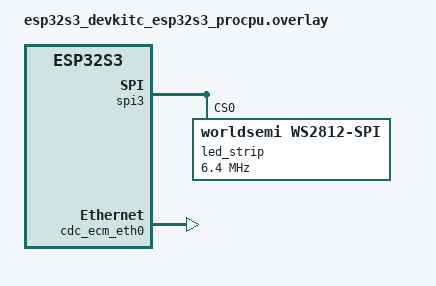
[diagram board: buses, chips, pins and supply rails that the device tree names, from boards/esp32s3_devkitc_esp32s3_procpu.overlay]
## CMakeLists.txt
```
# Copyright 2026 loco-pico contributors
# SPDX-License-Identifier: Apache-2.0

cmake_minimum_required(VERSION 3.20.0)

find_package(Zephyr REQUIRED HINTS $ENV{ZEPHYR_BASE})
project(loco_pico)

# ---------------------------------------------------------------------------
# Vendored third-party sources: Pico-ROS, Micro-CDR and the zenoh-pico 1.6.2
# compatibility shim.
# ---------------------------------------------------------------------------
set(PICOROS_DIR ${CMAKE_CURRENT_SOURCE_DIR}/thirdparty/Pico-ROS)
set(MICROCDR_DIR ${CMAKE_CURRENT_SOURCE_DIR}/thirdparty/Micro-CDR)
set(COMPAT_DIR ${CMAKE_CURRENT_SOURCE_DIR}/thirdparty/compat)

target_sources(app PRIVATE
  src/main.c
  src/led_status.c
  usb/usbd_net.c

  ${PICOROS_DIR}/src/picoros.c
  ${PICOROS_DIR}/src/picoserdes.c

  ${MICROCDR_DIR}/src/c/common.c
  ${MICROCDR_DIR}/src/c/types/array.c
  ${MICROCDR_DIR}/src/c/types/basic.c
  ${MICROCDR_DIR}/src/c/types/sequence.c
  ${MICROCDR_DIR}/src/c/types/string.c

  ${COMPAT_DIR}/picoros_compat.c
  ${COMPAT_DIR}/zephyr_atomics.c
)

target_include_directories(app PRIVATE
  usb
  ${COMPAT_DIR}
  ${PICOROS_DIR}/src
  ${PICOROS_DIR}/examples
  ${MICROCDR_DIR}/include
  ${PICOROS_DIR}/thirdparty/config
)

# Pico-ROS ships the common ROS 2 message and service types generated from the
# ROS IDL definitions (rcl_interfaces, common_interfaces, example_interfaces and
# unique_identifier_msgs) as examples/example_types.h. Compile that table in so
# the app can publish or subscribe any of those types.
target_compile_definitions(app PRIVATE
  USER_TYPE_FILE="example_types.h"
)

# Force the compatibility declarations into Pico-ROS sources so its calls to
# zp_read_task_is_running()/zp_lease_task_is_running() resolve against the
# shim without patching the submodule.
set_source_files_properties(
  ${PICOROS_DIR}/src/picoros.c
  PROPERTIES COMPILE_OPTIONS "-include;${COMPAT_DIR}/picoros_compat.h"
)

# ---------------------------------------------------------------------------
# Pico-ROS is built against a newer zenoh-pico, but the workspace ships 1.6.2.
# Enable the unstable liveliness API it needs and match the rmw_zenohd lease
# timing so the router keeps the session alive.
# ---------------------------------------------------------------------------
zephyr_compile_definitions(
  Z_FEATURE_UNSTABLE_API=1
  Z_TRANSPORT_LEASE=60000
  Z_TRANSPORT_LEASE_EXPIRE_FACTOR=2
)
```

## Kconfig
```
# Copyright 2026 loco-pico contributors
# SPDX-License-Identifier: Apache-2.0
#
# This file is the application Kconfig root, so it must source Zephyr's
# top-level Kconfig at the end.

config LOCO_PICO_USB_VID
	hex "USB device Vendor ID (VID)"
	default 0x303a if SOC_FAMILY_ESPRESSIF_ESP32
	default 0x2fe3
	help
	  USB device Vendor ID. Defaults to Espressif (0x303a) on ESP32 targets
	  and to the Zephyr project VID (0x2fe3) elsewhere.

config LOCO_PICO_USB_PID
	hex "USB device Product ID (PID)"
	default 0x0001
	help
	  USB device Product ID.

config LOCO_PICO_USB_MANUFACTURER
	string "USB manufacturer string"
	default "loco-pico"

config LOCO_PICO_USB_PRODUCT
	string "USB product string"
	default "loco-pico CDC-ECM"

config LOCO_PICO_USB_MAX_POWER
	int "USB bus power consumption (2 mA units)"
	default 125
	help
	  Maximum bus current in 2 mA units (125 = 250 mA).

config LOCO_PICO_USB_SELF_POWERED
	bool "USB device is self-powered"
	default n

config LOCO_PICO_USB_REMOTE_WAKEUP
	bool "USB device supports remote wakeup"
	default n

choice LOCO_PICO_LED_BACKEND
	prompt "Onboard status LED backend"
	default LOCO_PICO_LED_STRIP if SOC_SERIES_ESP32S3
	default LOCO_PICO_LED_GPIO
	help
	  How the onboard LED that reports the blink state is driven.

config LOCO_PICO_LED_GPIO
	bool "Plain GPIO pin (devicetree alias led0)"
	help
	  Drive the LED through the GPIO API. The board devicetree must provide a
	  led0 alias whose gpios property points at the LED.

config LOCO_PICO_LED_STRIP
	bool "Addressable LED strip (devicetree alias led-strip)"
	select LED_STRIP
	help
	  Drive the LED through the LED strip API, for boards whose status LED is
	  an addressable RGB part such as a WS2812. The board devicetree must
	  provide a led-strip alias.

endchoice

source "Kconfig.zephyr"
```

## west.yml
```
# West manifest for loco-pico.
#
# This repository is its own manifest repository (a "forest", or T2, workspace):
# the application and the manifest live here, while Zephyr and its modules are
# separate projects pulled in by "west update".
#
# Typical use from a fresh directory:
#
#   git clone --recurse-submodules https://github.com/<you>/loco-pico.git app
#   west init -l app
#   west update
#   west build -b rpi_pico app
#
# The "self: path: app" below declares that the manifest repository sits in a
# directory named "app" inside the workspace, which is what makes
# "west init -l app" (or "west config manifest.path app") find it.

manifest:
  remotes:
    - name: zephyrproject-rtos
      url-base: https://github.com/zephyrproject-rtos
    - name: eclipse-zenoh
      url-base: https://github.com/eclipse-zenoh

  defaults:
    remote: zephyrproject-rtos

  group-filter:
    - -babblesim
    - -optional
    - -testing

  projects:
    # Zephyr itself. "import: true" pulls in Zephyr's default module set (HALs,
    # CMSIS, picolibc, ...), which is what lets the RP2040 and ESP32-S3 builds
    # work without listing every module by hand.
    - name: zephyr
      revision: v4.4.2
      import: true

    # The Zenoh implementation Pico-ROS speaks on the wire. It ships its own
    # Zephyr module (zephyr/module.yml), so this single project is enough.
    - name: zenoh-pico
      remote: eclipse-zenoh
      revision: 1.6.2
      path: modules/lib/zenoh-pico

  self:
    path: app
```

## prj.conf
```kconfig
# loco-pico base configuration.
#
# USB CDC-ECM is the only transport for this project, so its virtual Ethernet
# interface and the ROS 2 / Pico-ROS Zenoh session are always built in; there is
# no separate build-time snippet to enable them.

# --- GPIO / LED -----------------------------------------------------------------
CONFIG_GPIO=y

# --- USB CDC-ECM virtual Ethernet transport (always enabled) -------------------
CONFIG_USB_DEVICE_STACK_NEXT=y
CONFIG_USBD_CDC_ECM_CLASS=y
CONFIG_NET_L2_ETHERNET=y
CONFIG_NET_CONFIG_SETTINGS=y
CONFIG_NET_DHCPV4_SERVER=y

# The device takes 192.0.2.2/24 and leases 192.0.2.1 to the host over DHCPv4, so
# the link is zero-configuration on the host side.
CONFIG_NET_CONFIG_MY_IPV4_ADDR="192.0.2.2"
CONFIG_NET_CONFIG_PEER_IPV4_ADDR="192.0.2.1"
CONFIG_NET_CONFIG_MY_IPV4_NETMASK="255.255.255.0"
CONFIG_NET_DHCPV4_SERVER_ADDR_COUNT=1
CONFIG_NET_DHCPV4_SERVER_ICMP_PROBE_TIMEOUT=0
CONFIG_NET_DHCPV4_SERVER_OPTION_ROUTER=n

# --- Logging --------------------------------------------------------------------
CONFIG_LOG=y
CONFIG_MAIN_STACK_SIZE=4096

# --- Networking core ------------------------------------------------------------
CONFIG_NETWORKING=y
CONFIG_NET_IPV4=y
CONFIG_NET_TCP=y
CONFIG_NET_UDP=y
CONFIG_NET_SOCKETS=y
CONFIG_POSIX_API=y
CONFIG_NET_IF_MAX_IPV4_COUNT=1
CONFIG_NET_MAX_CONTEXTS=4
# RP2040 has no entropy driver, so allow the non-random fallback for the network
# stack. Boards with a real entropy source (such as the ESP32-S3) still prefer
# their hardware RNG.
CONFIG_TEST_RANDOM_GENERATOR=y

# --- Networking buffers / stacks (tuned for RP2040's 264 KB SRAM) ---------------
CONFIG_NET_PKT_RX_COUNT=16
CONFIG_NET_PKT_TX_COUNT=16
CONFIG_NET_BUF_RX_COUNT=16
CONFIG_NET_BUF_TX_COUNT=16
CONFIG_NET_BUF_DATA_SIZE=512
CONFIG_NET_RX_STACK_SIZE=3072
CONFIG_NET_TX_STACK_SIZE=3072
CONFIG_SYSTEM_WORKQUEUE_STACK_SIZE=4096
CONFIG_HEAP_MEM_POOL_SIZE=32768

# --- Quiet the USB / DHCP stacks on the console --------------------------------
CONFIG_UDC_DRIVER_LOG_LEVEL_OFF=y
CONFIG_USBD_LOG_LEVEL_OFF=y
CONFIG_USBD_CDC_ECM_LOG_LEVEL_OFF=y

# --- Zenoh / Pico-ROS transport ------------------------------------------------
CONFIG_ZENOH_PICO=y
CONFIG_ZENOH_PICO_MULTI_THREAD=y
CONFIG_ZENOH_PICO_PUBLICATION=y
CONFIG_ZENOH_PICO_SUBSCRIPTION=y
CONFIG_ZENOH_PICO_QUERY=y
CONFIG_ZENOH_PICO_QUERYABLE=y
CONFIG_ZENOH_PICO_LINK_TCP=y
CONFIG_ZENOH_PICO_LINK_UDP_UNICAST=y
CONFIG_ZENOH_PICO_LINK_UDP_MULTICAST=y
CONFIG_ZENOH_PICO_SCOUTING=y
```

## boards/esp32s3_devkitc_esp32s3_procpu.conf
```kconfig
# ESP32-S3-DevKitC-1 configuration.
#
# The onboard addressable LED is a WS2812 driven over SPI3 (MOSI routed to
# GPIO48); the application drives it through the LED strip API rather than a
# plain GPIO.

CONFIG_LOCO_PICO_LED_STRIP=y
```

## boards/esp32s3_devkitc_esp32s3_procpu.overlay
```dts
/*
 * Copyright 2026 loco-pico contributors
 * SPDX-License-Identifier: Apache-2.0
 *
 * ESP32-S3-DevKitC-1: onboard WS2812 addressable RGB LED over SPI3.
 *
 * The LED data line is MOSI on GPIO48. The WS2812 SPI driver needs the bus to
 * idle low and the one/zero bit frames below.
 */

#include <zephyr/dt-bindings/led/led.h>

&pinctrl {
	spim3_default: spim3_default {
		group2 {
			pinmux = <SPIM3_MOSI_GPIO48>;
		};
	};
};

&spi3 {
	/* Workaround required by the WS2812 SPI driver. */
	line-idle-low;

	led_strip: ws2812@0 {
		compatible = "worldsemi,ws2812-spi";

		reg = <0>;
		spi-max-frequency = <6400000>;

		chain-length = <1>;
		spi-cpha;
		spi-one-frame = <0xf0>;  /* 11110000: 625 ns high, 625 ns low */
		spi-zero-frame = <0xc0>; /* 11000000: 312.5 ns high, 937.5 ns low */
		color-mapping = <LED_COLOR_ID_GREEN
				 LED_COLOR_ID_RED
				 LED_COLOR_ID_BLUE>;
	};
};

/ {
	aliases {
		led-strip = &led_strip;
	};
};

/* USB CDC-ECM virtual Ethernet interface on the ESP32-S3 USB-OTG controller. */
&zephyr_udc0 {
	cdc_ecm_eth0: cdc_ecm_eth0 {
		compatible = "zephyr,cdc-ecm-ethernet";
		remote-mac-address = "00005E005301";
	};
};
```

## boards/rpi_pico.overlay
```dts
/*
 * Copyright 2026 loco-pico contributors
 * SPDX-License-Identifier: Apache-2.0
 *
 * Raspberry Pi Pico (RP2040) application overlay.
 *
 * The onboard LED needs no extra devicetree here: the board already provides
 * the led0 alias (GPIO25) that src/led_status.c uses. This overlay only attaches
 * the USB CDC-ECM virtual Ethernet interface to the RP2040 USB device
 * controller (tagged zephyr_udc0 by the board).
 */

&zephyr_udc0 {
	cdc_ecm_eth0: cdc_ecm_eth0 {
		compatible = "zephyr,cdc-ecm-ethernet";
		remote-mac-address = "00005E005301";
	};
};
```

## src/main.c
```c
// Copyright 2026 loco-pico contributors
// SPDX-License-Identifier: Apache-2.0
//
// Blink the onboard LED and publish its state to ROS 2 as std_msgs/msg/Bool
// over a Pico-ROS (rmw_zenoh) session carried by USB CDC-ECM.

#include <stdio.h>

#include <zephyr/kernel.h>
#include <zephyr/logging/log.h>

#include "led_status.h"
#include "picoros.h"
#include "picoserdes.h"

#include "usbd_net.h"

LOG_MODULE_REGISTER(loco_pico, LOG_LEVEL_INF);

#define BLINK_PERIOD_MS 1000
#define RECONNECT_DELAY_MS 1000

static picoros_node_t ros_node = {
	.name = "loco_pico",
};

static picoros_publisher_t blink_pub = {
	.topic = {
		.name = "blink",
		.type = ROSTYPE_NAME(ros_Bool),
		.rihs_hash = ROSTYPE_HASH(ros_Bool),
	},
};

/* std_msgs/msg/Bool is a single bool field. */
static ros_Bool led_state;
static uint8_t tx_buf[64];

static char zenoh_locator[40];
static bool ros_connected;

static int build_locator(void)
{
	char peer[32];
	int ret;

	ret = loco_pico_usbd_net_peer_locator(peer, sizeof(peer));
	if (ret < 0) {
		return ret;
	}

	ret = snprintf(zenoh_locator, sizeof(zenoh_locator), "tcp/%s", peer);
	if (ret < 0 || (size_t)ret >= sizeof(zenoh_locator)) {
		return -ENOSPC;
	}

	return 0;
}

static int ros_connect(void)
{
	picoros_interface_t ifx = {
		.mode = "client",
		.locator = zenoh_locator,
	};
	picoros_res_t res;

	res = picoros_interface_init(&ifx);
	if (res != PICOROS_OK) {
		LOG_WRN("Zenoh session not ready (%d), retrying", res);
		return -EAGAIN;
	}

	res = picoros_node_init(&ros_node);
	if (res != PICOROS_OK) {
		LOG_ERR("Failed to declare node '%s' (%d)", ros_node.name, res);
		picoros_interface_close();
		return -EIO;
	}

	res = picoros_publisher_declare(&ros_node, &blink_pub);
	if (res != PICOROS_OK) {
		LOG_ERR("Failed to declare publisher '%s' (%d)", blink_pub.topic.name, res);
		picoros_node_drop(&ros_node);
		picoros_interface_close();
		return -EIO;
	}

	ros_connected = true;
	LOG_INF("ROS 2 node '/%s' publishing '%s' (%s) to %s", ros_node.name,
		blink_pub.topic.name, blink_pub.topic.type, zenoh_locator);

	return 0;
}

static void ros_disconnect(void)
{
	picoros_publisher_drop(&blink_pub);
	picoros_node_drop(&ros_node);
	picoros_interface_close();
	ros_connected = false;
}

static void ros_publish(bool state)
{
	size_t len;

	led_state = state;
	len = ps_serialize(tx_buf, &led_state, sizeof(tx_buf));
	if (len == 0) {
		LOG_WRN("Failed to serialize std_msgs/Bool");
		return;
	}

	picoros_publish(&blink_pub, tx_buf, len);
}

int main(void)
{
	int ret = led_status_init();

	if (ret < 0) {
		LOG_ERR("Failed to initialise the status LED: %d", ret);
		return ret;
	}

	LOG_INF("loco-pico on %s", CONFIG_BOARD_TARGET);

	ret = loco_pico_usbd_net_init();
	if (ret < 0) {
		LOG_ERR("USB CDC-ECM bring-up failed: %d", ret);
	}

	bool state = false;

	while (true) {
		state = !state;
		led_status_set(state);

		if (!ros_connected) {
			if (loco_pico_usbd_net_ready() && build_locator() == 0) {
				ros_connect();
			}
		} else if (!picoros_interface_is_up()) {
			LOG_WRN("ROS 2 session lost, reconnecting");
			ros_disconnect();
		}

		if (ros_connected) {
			ros_publish(state);
		}

		k_sleep(K_MSEC(ros_connected ? BLINK_PERIOD_MS : RECONNECT_DELAY_MS));
	}

	return 0;
}
```

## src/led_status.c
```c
// Copyright 2026 loco-pico contributors
// SPDX-License-Identifier: Apache-2.0
//
// Board-agnostic onboard status LED.
//
// Two backends are available, selected through Kconfig:
//   LOCO_PICO_LED_GPIO  - a plain GPIO wired to the LED
//                         (Raspberry Pi Pico, devicetree alias led0)
//   LOCO_PICO_LED_STRIP - an addressable WS2812 over SPI
//                         (ESP32-S3-DevKitC, devicetree alias led-strip)

#include "led_status.h"

#include <zephyr/kernel.h>
#include <zephyr/logging/log.h>

LOG_MODULE_DECLARE(loco_pico, LOG_LEVEL_INF);

#if defined(CONFIG_LOCO_PICO_LED_GPIO)

#include <zephyr/drivers/gpio.h>

static const struct gpio_dt_spec led = GPIO_DT_SPEC_GET(DT_ALIAS(led0), gpios);

int led_status_init(void)
{
	if (!gpio_is_ready_dt(&led)) {
		LOG_ERR("LED device %s is not ready", led.port->name);
		return -ENODEV;
	}

	return gpio_pin_configure_dt(&led, GPIO_OUTPUT_INACTIVE);
}

void led_status_set(bool on)
{
	(void)gpio_pin_set_dt(&led, on ? 1 : 0);
}

#elif defined(CONFIG_LOCO_PICO_LED_STRIP)

#include <zephyr/drivers/led_strip.h>

/* Non-zero green is clearly visible on the DevKitC's WS2812. */
#define LED_STRIP_ON_LEVEL 32

static const struct device *const strip = DEVICE_DT_GET(DT_ALIAS(led_strip));

int led_status_init(void)
{
	if (!device_is_ready(strip)) {
		LOG_ERR("LED strip device %s is not ready", strip->name);
		return -ENODEV;
	}

	led_status_set(false);

	return 0;
}

void led_status_set(bool on)
{
	struct led_rgb pixel = {
		.r = 0,
		.g = on ? LED_STRIP_ON_LEVEL : 0,
		.b = 0,
	};
	int ret = led_strip_update_rgb(strip, &pixel, 1);

	if (ret < 0) {
		LOG_WRN("Failed to update the LED strip: %d", ret);
	}
}

#else
#error "Select an onboard LED backend (CONFIG_LOCO_PICO_LED_GPIO or _STRIP)"
#endif
```

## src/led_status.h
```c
// Copyright 2026 loco-pico contributors
// SPDX-License-Identifier: Apache-2.0
//
// Board-agnostic onboard status LED.

#ifndef LOCO_PICO_LED_STATUS_H_
#define LOCO_PICO_LED_STATUS_H_

#include <stdbool.h>

#ifdef __cplusplus
extern "C" {
#endif

/**
 * @brief Initialise the onboard status LED.
 *
 * @return 0 on success, negative errno on failure.
 */
int led_status_init(void);

/**
 * @brief Turn the onboard status LED on or off.
 */
void led_status_set(bool on);

#ifdef __cplusplus
}
#endif

#endif /* LOCO_PICO_LED_STATUS_H_ */
```
